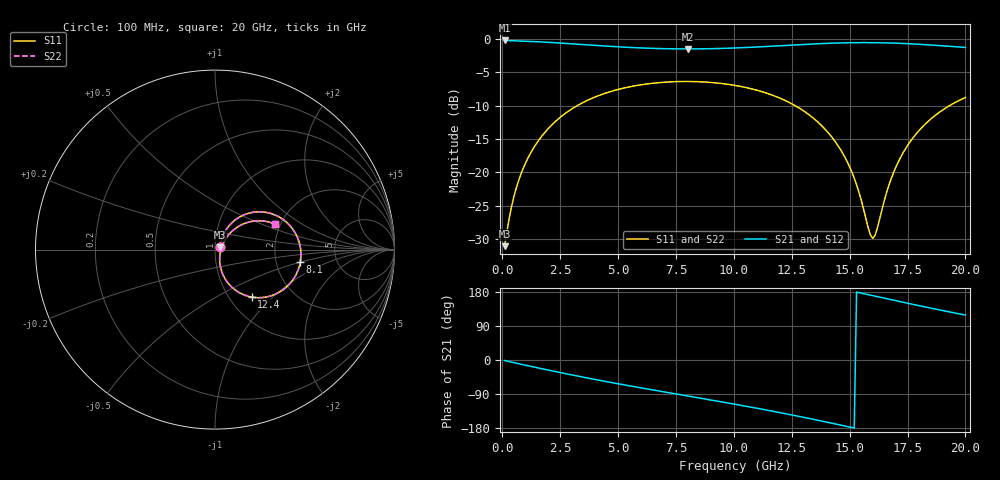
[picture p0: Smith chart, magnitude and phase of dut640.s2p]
! Touchstone file exported from HFSS 2026.1.0
!  File:  C:/ffzhzh/LocalFiles/Ansys_Project_Files/temp_train_TSV_RDL_640_1783127666_37876.aedt
!  Generated:  09:24:49 AM Jul  4, 2026
!  Design:  TSV_RDL
!  Project:  temp_train_TSV_RDL_640_1783127666_37876
! Variables:
!  h_bsmrdl = 5.01um
!  h_ox = 20um
!  h_rdl = 5um
!  h_sub = 65.54um
!  h_tmrdl = 2.2um
!  h_tsv = 65.54um
!  h_via = 3um
!  l_bsmrdl = 551.28um
!  l_sub = 4018.26um
!  l_tmrdl = 461.36um
!  m_sub = 200um
!  pitch = 38.01um
!  r_tsv = 4.29um
!  s_tmrdl = 10um
!  w_bsmrdl = 10.29um
!  w_sub = 500um
!  w_tmrdl = 29.37um
!  x_tsv_center1 = 476.045um
!  x_tsv_center2 = 1037.615um
!  x_tsv_center3 = 1528.345um
!  x_tsv_center4 = 2089.915um
!  x_tsv_center5 = 2580.645um
!  x_tsv_center6 = 3142.215um
# GHz S MA R 50.000000
! Terminal data exported
! Port[1] = TM_RDL1_1_T1
! Port[2] = TM_RDL5_1_T1
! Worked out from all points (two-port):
!   200 points, 100 MHz to 20 GHz, reference 50 ohm
!   highest |S21| = -0.22 dB at 100 MHz (marker M1); lowest = -1.5 dB at 8 GHz (marker M2)
!   |S21| within 3 dB of the highest: start of sweep to end of sweep
!   lowest |S11| = -31.1 dB at 100 MHz (marker M3), VSWR 1.06, Z = 52.6 + j1.27 ohm
!   |S11| at or under -10 dB: start of sweep to 3.235 GHz; 12.65 GHz to 19.31 GHz (6.666 GHz wide, 41.7 % of centre)
!   |S22| runs from -31.1 to -6.4 dB; largest |S21 - S12| = 1.9e-14
!   S11 on the Smith chart (normalised r, x): 100 MHz: 1.05, +0.03; 8.1 GHz: 2.74, -0.50; 12.4 GHz: 1.26, -0.75; 20 GHz: 1.88, +0.62
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0.1  0.02795 25.6  0.975 -1.5  0.975 -1.5  0.02795 25.6
! Gamma 0 0 0 0
! Port Impedance 50 0 50 0
0.4  0.05536 54.6  0.9712 -5.7  0.9712 -5.7  0.05536 54.6
0.6  0.07588 59.3  0.9682 -8.4  0.9682 -8.4  0.07588 59.3
1.2  0.1372 60.4  0.9592 -16.4  0.9592 -16.4  0.1372 60.4
2.2  0.2324 52.4  0.9396 -29.4  0.9396 -29.4  0.2324 52.4
3.5  0.3349 38.9  0.908 -45.4  0.908 -45.4  0.3349 38.9
5.1  0.4226 22.0  0.8718 -63.8  0.8718 -63.8  0.4226 21.9
6.8  0.4712 4.6  0.8475 -82.2  0.8475 -82.2  0.4712 4.6
8  0.4803 -7.3  0.8423 -94.9  0.8423 -94.9  0.4803 -7.4
8.1  0.4801 -8.3  0.8423 -95.9  0.8423 -95.9  0.4801 -8.3
10.1  0.4471 -28.4  0.857 -117.3  0.857 -117.3  0.4471 -28.4
12.4  0.3336 -52.4  0.8981 -143.7  0.8981 -143.7  0.3335 -52.4
13.4  0.2578 -62.7  0.9173 -156.1  0.9173 -156.1  0.2577 -62.7
14.2  0.1869 -69.8  0.9297 -166.4  0.9297 -166.4  0.1869 -69.9
14.9  0.1197 -73.1  0.9369 -175.6  0.9369 -175.6  0.1196 -73.2
15.3  0.08071 -70.3  0.9391 179.1  0.9391 179.1  0.08064 -70.5
16  0.03205 -13.2  0.939 169.7  0.939 169.7  0.0319 -13.1
16.2  0.03833 17.9  0.938 167.1  0.938 167.1  0.03822 18.0
16.7  0.08044 44.7  0.9339 160.4  0.9339 160.4  0.0804 44.8
17.3  0.1392 47.2  0.9257 152.4  0.9257 152.4  0.1392 47.3
18  0.206 42.8  0.9126 143.3  0.9126 143.3  0.206 42.8
20  0.3639 23.0  0.8642 118.6  0.8642 118.6  0.3639 23.0
